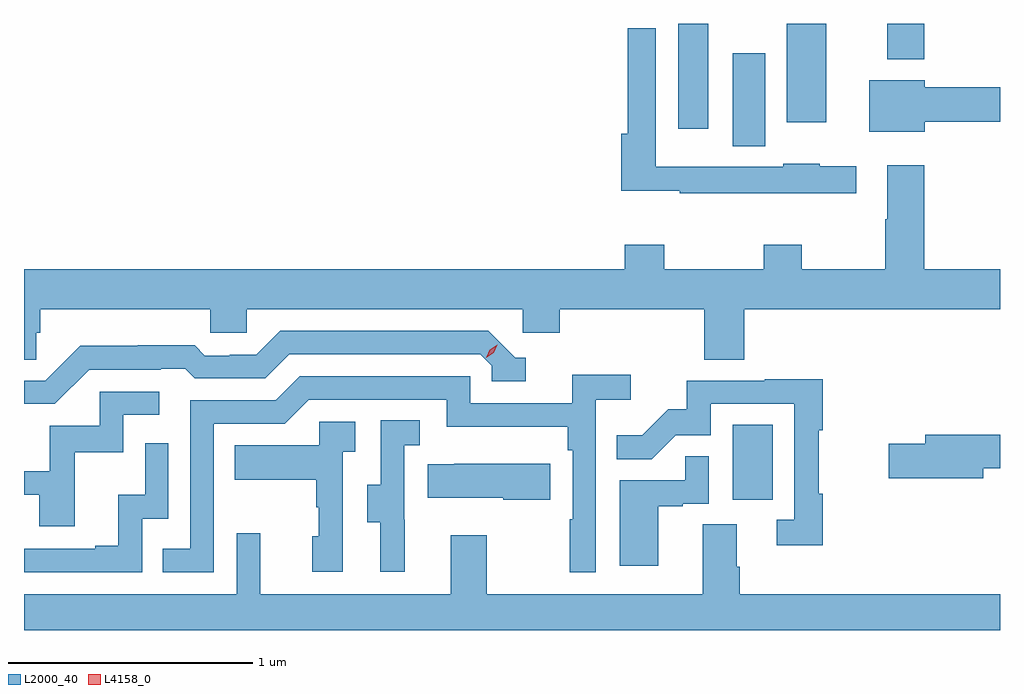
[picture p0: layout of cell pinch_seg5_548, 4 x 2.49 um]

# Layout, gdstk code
import gdstk
lib = gdstk.Library(unit=1e-6, precision=1e-09)
def R(c, l, rs):  # rectangles x0, y0, x1, y1
    for r in rs: c.add(gdstk.rectangle(r[:2], r[2:], *l))
def P(c, l, *ps):  # polygons
    for p in ps: c.add(gdstk.Polygon(p, *l))
L2000_40 = (2000, 40)
L4158_0 = (4158, 0)

pinch_seg5_548 = lib.new_cell('pinch_seg5_548')
R(pinch_seg5_548, L2000_40, [(975.44,833.334,975.604,833.641), (975.44,834.784,975.574,835.165), (975.218,834.855,975.34,835.285), (975.662,834.882,975.823,835.286), (976.073,835.139,976.226,835.286)])
P(pinch_seg5_548, L2000_40, [(975.946,834.701),(975.798,834.701),(975.798,834.712),(975.648,834.712),(975.648,834.699),(975.336,834.699),(975.336,834.7),(975.126,834.7),(975.126,835.267),(975.01,835.267),(975.01,834.835),(974.984,834.835),(974.984,834.601),(975.223,834.601),(975.223,834.591),(975.548,834.591),(975.548,834.59),(975.946,834.59)],
  [(976.228,834.884),(976.536,834.884),(976.536,835.026),(976.228,835.026),(976.228,835.054),(976.001,835.054),(976.001,834.842),(976.228,834.842)],
  [(972.587,834.018),(972.602,834.018),(972.602,834.116),(973.299,834.116),(973.299,834.018),(973.449,834.018),(973.449,834.116),(974.58,834.116),(974.58,834.018),(974.732,834.018),(974.732,834.116),(975.323,834.116),(975.323,833.908),(975.488,833.908),(975.488,834.116),(976.536,834.116),(976.536,834.28),(976.226,834.28),(976.226,834.706),(976.073,834.706),(976.073,834.485),(976.066,834.485),(976.066,834.28),(975.723,834.28),(975.723,834.379),(975.568,834.379),(975.568,834.28),(975.159,834.28),(975.159,834.379),(974.999,834.379),(974.999,834.28),(972.536,834.28),(972.536,833.908),(972.587,833.908)],
  [(972.804,833.868),(973.097,833.868),(973.097,833.871),(973.196,833.871),(973.235,833.832),(973.524,833.832),(973.623,833.931),(974.406,833.931),(974.454,833.883),(974.454,833.82),(974.593,833.82),(974.593,833.916),(974.55,833.916),(974.439,834.027),(973.586,834.027),(973.487,833.928),(973.38,833.928),(973.38,833.925),(973.277,833.925),(973.235,833.968),(973.002,833.968),(973.002,833.965),(972.766,833.965),(972.624,833.823),(972.536,833.823),(972.536,833.727),(972.663,833.727)],
  [(973.314,833.646),(973.605,833.646),(973.704,833.745),(974.268,833.745),(974.268,833.633),(974.764,833.633),(974.764,833.537),(974.784,833.537),(974.784,833.255),(974.772,833.255),(974.772,833.037),(974.88,833.037),(974.88,833.744),(975.022,833.744),(975.022,833.846),(974.783,833.846),(974.783,833.73),(974.364,833.73),(974.364,833.841),(973.667,833.841),(973.568,833.742),(973.218,833.742),(973.218,833.133),(973.105,833.133),(973.105,833.037),(973.314,833.037)],
  [(975.809,833.36),(975.794,833.36),(975.794,833.62),(975.809,833.62),(975.809,833.828),(975.571,833.828),(975.571,833.823),(975.253,833.823),(975.253,833.706),(975.176,833.706),(975.069,833.599),(974.965,833.599),(974.965,833.5),(975.109,833.5),(975.207,833.598),(975.351,833.598),(975.351,833.727),(975.693,833.727),(975.693,833.253),(975.621,833.253),(975.621,833.148),(975.809,833.148)],
  [(972.743,833.529),(972.942,833.529),(972.942,833.682),(973.09,833.682),(973.09,833.778),(972.846,833.778),(972.846,833.637),(972.641,833.637),(972.641,833.451),(972.536,833.451),(972.536,833.355),(972.599,833.355),(972.599,833.226),(972.743,833.226)],
  [(974.096,833.253),(974.094,833.253),(974.094,833.557),(974.158,833.557),(974.158,833.66),(973.998,833.66),(973.998,833.397),(973.943,833.397),(973.943,833.242),(973.997,833.242),(973.997,833.04),(974.096,833.04)],
  [(973.842,833.531),(973.894,833.531),(973.894,833.655),(973.746,833.655),(973.746,833.557),(973.399,833.557),(973.399,833.417),(973.734,833.417),(973.734,833.303),(973.744,833.303),(973.744,833.184),(973.718,833.184),(973.718,833.04),(973.842,833.04)],
  [(976.468,833.464),(976.536,833.464),(976.536,833.6),(976.229,833.6),(976.229,833.564),(976.08,833.564),(976.08,833.422),(976.468,833.422)],
  [(973.02,833.256),(973.128,833.256),(973.128,833.566),(973.032,833.566),(973.032,833.354),(972.923,833.354),(972.923,833.146),(972.827,833.146),(972.827,833.133),(972.536,833.133),(972.536,833.037),(973.02,833.037)],
  [(975.136,833.307),(975.236,833.307),(975.236,833.319),(975.342,833.319),(975.342,833.513),(975.247,833.513),(975.247,833.415),(974.978,833.415),(974.978,833.064),(975.136,833.064)],
  [(974.692,833.482),(974.299,833.482),(974.299,833.479),(974.191,833.479),(974.191,833.342),(974.501,833.342),(974.501,833.335),(974.692,833.335)],
  [(976.536,832.948),(975.47,832.948),(975.47,833.06),(975.457,833.06),(975.457,833.234),(975.317,833.234),(975.317,832.948),(974.433,832.948),(974.433,833.188),(974.285,833.188),(974.285,832.948),(973.505,832.948),(973.505,833.197),(973.407,833.197),(973.407,832.948),(972.536,832.948),(972.536,832.799),(976.536,832.799)])
P(pinch_seg5_548, L4158_0, [(974.43,833.917),(974.43,833.917),(974.445,833.95),(974.476,833.97),(974.476,833.97),(974.476,833.97),(974.461,833.937),(974.431,833.917)])

lib.write_gds('pinch_seg5_548.gds')
